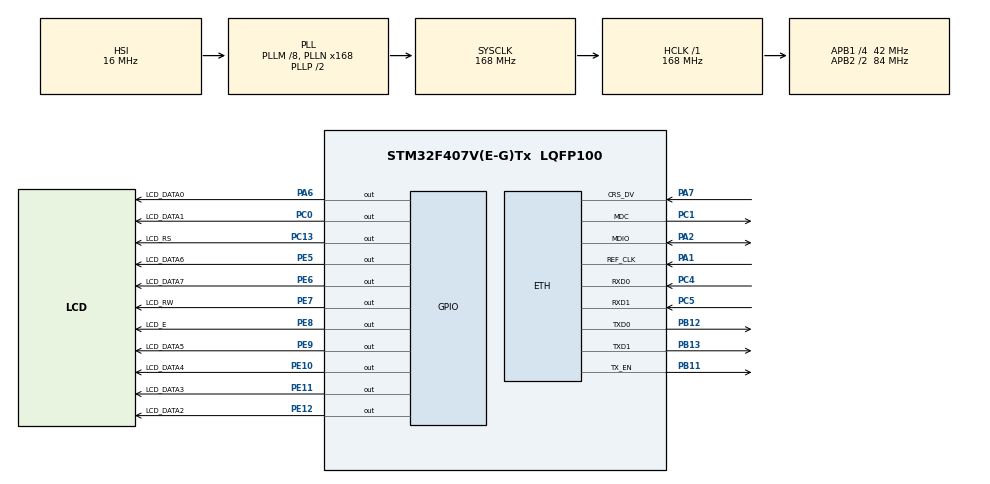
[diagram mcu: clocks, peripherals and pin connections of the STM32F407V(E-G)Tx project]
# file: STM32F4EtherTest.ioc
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ETH.MACAddr=00\:02\:F7\:F1\:D4\:EA
ETH.MediaInterface=ETH_MEDIA_INTERFACE_RMII
ETH.PHY_DUPLEX_STATUS=0x0010
ETH.PHY_Name_RMII=userPHY
ETH.PHY_SPEED_STATUS=0x0004
ETH.PHY_SR=0x1F
ETH.PHY_User_Name=LAN8720A
ETH.PhyAddress=1
FREERTOS.Tasks01=defaultTask,0,512,StartDefaultTask,Default,NULL,Dynamic,NULL,NULL
LWIP.LWIP_NETIF_LINK_CALLBACK=1
LWIP.LWIP_NETIF_STATUS_CALLBACK=1
LWIP.Version=v2.0.3_Cube
Mcu.Family=STM32F4
Mcu.Name=STM32F407V(E-G)Tx
Mcu.Package=LQFP100
NVIC.ETH_IRQn=true\:5\:0\:false\:false\:true\:true\:false
NVIC.PriorityGroup=NVIC_PRIORITYGROUP_4
NVIC.TIM1_UP_TIM10_IRQn=true\:0\:0\:false\:false\:true\:false\:false
NVIC.TimeBase=TIM1_UP_TIM10_IRQn
NVIC.TimeBaseIP=TIM10
PA1.Mode=RMII
PA1.Signal=ETH_REF_CLK
PA13.Mode=Serial_Wire
PA13.Signal=SYS_JTMS-SWDIO
PA14.Mode=Serial_Wire
PA14.Signal=SYS_JTCK-SWCLK
PA2.Mode=RMII
PA2.Signal=ETH_MDIO
PA6.GPIO_Label=LCD_DATA0
PA6.Signal=GPIO_Output
PA7.Mode=RMII
PA7.Signal=ETH_CRS_DV
PB11.Mode=RMII
PB11.Signal=ETH_TX_EN
PB12.Mode=RMII
PB12.Signal=ETH_TXD0
PB13.Mode=RMII
PB13.Signal=ETH_TXD1
PC0.GPIO_Label=LCD_DATA1
PC0.Signal=GPIO_Output
PC1.Mode=RMII
PC1.Signal=ETH_MDC
PC13-ANTI_TAMP.GPIO_Label=LCD_RS
PC13-ANTI_TAMP.Signal=GPIO_Output
PC4.Mode=RMII
PC4.Signal=ETH_RXD0
PC5.Mode=RMII
PC5.Signal=ETH_RXD1
PE10.GPIO_Label=LCD_DATA4
PE10.Signal=GPIO_Output
PE11.GPIO_Label=LCD_DATA3
PE11.Signal=GPIO_Output
PE12.GPIO_Label=LCD_DATA2
PE12.Signal=GPIO_Output
PE5.GPIO_Label=LCD_DATA6
PE5.Signal=GPIO_Output
PE6.GPIO_Label=LCD_DATA7
PE6.Signal=GPIO_Output
PE7.GPIO_Label=LCD_RW
PE7.Signal=GPIO_Output
PE8.GPIO_Label=LCD_E
PE8.Signal=GPIO_Output
PE9.GPIO_Label=LCD_DATA5
PE9.Signal=GPIO_Output
ProjectManager.HeapSize=0x200
ProjectManager.StackSize=0x400
ProjectManager.TargetToolchain=Makefile
RCC.48MHZClocksFreq_Value=84000000
RCC.AHBFreq_Value=168000000
RCC.APB1CLKDivider=RCC_HCLK_DIV4
RCC.APB1Freq_Value=42000000
RCC.APB1TimFreq_Value=84000000
RCC.APB2CLKDivider=RCC_HCLK_DIV2
RCC.APB2Freq_Value=84000000
RCC.APB2TimFreq_Value=168000000
RCC.CortexFreq_Value=168000000
RCC.HCLKFreq_Value=168000000
RCC.HSE_VALUE=25000000
RCC.HSI_VALUE=16000000
RCC.LSE_VALUE=32768
RCC.PLLM=8
RCC.PLLN=168
RCC.SYSCLKFreq_VALUE=168000000
RCC.SYSCLKSource=RCC_SYSCLKSOURCE_PLLCLK
RCC.VCOOutputFreq_Value=336000000
VP_FREERTOS_VS_ENABLE.Mode=Enabled
VP_LWIP_VS_Enabled.Mode=Enabled
VP_SYS_VS_tim10.Mode=TIM10
board=custom

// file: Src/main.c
/**
  ******************************************************************************
  * @file           : main.c
  * @brief          : Main program body
  ******************************************************************************
  * This notice applies to any and all portions of this file
  * that are not between comment pairs USER CODE BEGIN and
  * USER CODE END. Other portions of this file, whether
  * inserted by the user or by software development tools
  * are owned by their respective copyright owners.
  *
  * Copyright (c) 2019 STMicroelectronics International N.V.
  * All rights reserved.
  *
  * Redistribution and use in source and binary forms, with or without
  * modification, are permitted, provided that the following conditions are met:
  *
  * 1. Redistribution of source code must retain the above copyright notice,
  *    this list of conditions and the following disclaimer.
  * 2. Redistributions in binary form must reproduce the above copyright notice,
  *    this list of conditions and the following disclaimer in the documentation
  *    and/or other materials provided with the distribution.
  * 3. Neither the name of STMicroelectronics nor the names of other
  *    contributors to this software may be used to endorse or promote products
  *    derived from this software without specific written permission.
  * 4. This software, including modifications and/or derivative works of this
  *    software, must execute solely and exclusively on microcontroller or
  *    microprocessor devices manufactured by or for STMicroelectronics.
  * 5. Redistribution and use of this software other than as permitted under
  *    this license is void and will automatically terminate your rights under
  *    this license.
  *
  * THIS SOFTWARE IS PROVIDED BY STMICROELECTRONICS AND CONTRIBUTORS "AS IS"
  * AND ANY EXPRESS, IMPLIED OR STATUTORY WARRANTIES, INCLUDING, BUT NOT
  * LIMITED TO, THE IMPLIED WARRANTIES OF MERCHANTABILITY, FITNESS FOR A
  * PARTICULAR PURPOSE AND NON-INFRINGEMENT OF THIRD PARTY INTELLECTUAL PROPERTY
  * RIGHTS ARE DISCLAIMED TO THE FULLEST EXTENT PERMITTED BY LAW. IN NO EVENT
  * SHALL STMICROELECTRONICS OR CONTRIBUTORS BE LIABLE FOR ANY DIRECT, INDIRECT,
  * INCIDENTAL, SPECIAL, EXEMPLARY, OR CONSEQUENTIAL DAMAGES (INCLUDING, BUT NOT
  * LIMITED TO, PROCUREMENT OF SUBSTITUTE GOODS OR SERVICES; LOSS OF USE, DATA,
  * OR PROFITS; OR BUSINESS INTERRUPTION) HOWEVER CAUSED AND ON ANY THEORY OF
  * LIABILITY, WHETHER IN CONTRACT, STRICT LIABILITY, OR TORT (INCLUDING
  * NEGLIGENCE OR OTHERWISE) ARISING IN ANY WAY OUT OF THE USE OF THIS SOFTWARE,
  * EVEN IF ADVISED OF THE POSSIBILITY OF SUCH DAMAGE.
  *
  ******************************************************************************
  */
#include "main.h"
#include "stm32f4xx_hal.h"
#include "cmsis_os.h"
#include "lwip.h"
#include "gpio.h"

/* USER CODE BEGIN PV */
/* Private variables ---------------------------------------------------------*/

/* USER CODE END PV */

void SystemClock_Config(void);
void MX_FREERTOS_Init(void);

/* USER CODE BEGIN PFP */
/* Private function prototypes -----------------------------------------------*/

/* USER CODE END PFP */

int main(void)
{

  /* MCU Configuration----------------------------------------------------------*/

  /* Reset of all peripherals, Initializes the Flash interface and the Systick. */
  HAL_Init();

  /* Configure the system clock */
  SystemClock_Config();

  /* Initialize all configured peripherals */
  MX_GPIO_Init();

  /* Call init function for freertos objects (in freertos.c) */
  MX_FREERTOS_Init();

  /* Start scheduler */
  osKernelStart();

  /* We should never get here as control is now taken by the scheduler */

  /* Infinite loop */
  while (1)
  {

  }

}

void SystemClock_Config(void)
{

  RCC_OscInitTypeDef RCC_OscInitStruct;
  RCC_ClkInitTypeDef RCC_ClkInitStruct;

    /**Configure the main internal regulator output voltage
    */
  __HAL_RCC_PWR_CLK_ENABLE();

  __HAL_PWR_VOLTAGESCALING_CONFIG(PWR_REGULATOR_VOLTAGE_SCALE1);

    /**Initializes the CPU, AHB and APB busses clocks
    */
  RCC_OscInitStruct.OscillatorType = RCC_OSCILLATORTYPE_HSI;
  RCC_OscInitStruct.HSIState = RCC_HSI_ON;
  RCC_OscInitStruct.HSICalibrationValue = 16;
  RCC_OscInitStruct.PLL.PLLState = RCC_PLL_ON;
  RCC_OscInitStruct.PLL.PLLSource = RCC_PLLSOURCE_HSI;
  RCC_OscInitStruct.PLL.PLLM = 8;
  RCC_OscInitStruct.PLL.PLLN = 168;
  RCC_OscInitStruct.PLL.PLLP = RCC_PLLP_DIV2;
  RCC_OscInitStruct.PLL.PLLQ = 4;
  if (HAL_RCC_OscConfig(&RCC_OscInitStruct) != HAL_OK)
  {
    _Error_Handler(__FILE__, __LINE__);
  }

    /**Initializes the CPU, AHB and APB busses clocks
    */
  RCC_ClkInitStruct.ClockType = RCC_CLOCKTYPE_HCLK|RCC_CLOCKTYPE_SYSCLK
                              |RCC_CLOCKTYPE_PCLK1|RCC_CLOCKTYPE_PCLK2;
  RCC_ClkInitStruct.SYSCLKSource = RCC_SYSCLKSOURCE_PLLCLK;
  RCC_ClkInitStruct.AHBCLKDivider = RCC_SYSCLK_DIV1;
  RCC_ClkInitStruct.APB1CLKDivider = RCC_HCLK_DIV4;
  RCC_ClkInitStruct.APB2CLKDivider = RCC_HCLK_DIV2;

  if (HAL_RCC_ClockConfig(&RCC_ClkInitStruct, FLASH_LATENCY_5) != HAL_OK)
  {
    _Error_Handler(__FILE__, __LINE__);
  }

    /**Configure the Systick interrupt time
    */
  HAL_SYSTICK_Config(HAL_RCC_GetHCLKFreq()/1000);

    /**Configure the Systick
    */
  HAL_SYSTICK_CLKSourceConfig(SYSTICK_CLKSOURCE_HCLK);

  /* SysTick_IRQn interrupt configuration */
  HAL_NVIC_SetPriority(SysTick_IRQn, 15, 0);
}

void HAL_TIM_PeriodElapsedCallback(TIM_HandleTypeDef *htim)
{
  if (htim->Instance == TIM10) {
    HAL_IncTick();
  }
}

void _Error_Handler(char *file, int line)
{
  while(1)
  {
  }
}

/************************ (C) COPYRIGHT STMicroelectronics *****END OF FILE****/

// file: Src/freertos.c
/* USER CODE BEGIN Header */
/**
  ******************************************************************************
  * File Name          : freertos.c
  * Description        : Code for freertos applications
  ******************************************************************************
  * This notice applies to any and all portions of this file
  * that are not between comment pairs USER CODE BEGIN and
  * USER CODE END. Other portions of this file, whether
  * inserted by the user or by software development tools
  * are owned by their respective copyright owners.
  *
  * Copyright (c) 2019 STMicroelectronics International N.V.
  * All rights reserved.
  *
  * Redistribution and use in source and binary forms, with or without
  * modification, are permitted, provided that the following conditions are met:
  *
  * 1. Redistribution of source code must retain the above copyright notice,
  *    this list of conditions and the following disclaimer.
  * 2. Redistributions in binary form must reproduce the above copyright notice,
  *    this list of conditions and the following disclaimer in the documentation
  *    and/or other materials provided with the distribution.
  * 3. Neither the name of STMicroelectronics nor the names of other
  *    contributors to this software may be used to endorse or promote products
  *    derived from this software without specific written permission.
  * 4. This software, including modifications and/or derivative works of this
  *    software, must execute solely and exclusively on microcontroller or
  *    microprocessor devices manufactured by or for STMicroelectronics.
  * 5. Redistribution and use of this software other than as permitted under
  *    this license is void and will automatically terminate your rights under
  *    this license.
  *
  * THIS SOFTWARE IS PROVIDED BY STMICROELECTRONICS AND CONTRIBUTORS "AS IS"
  * AND ANY EXPRESS, IMPLIED OR STATUTORY WARRANTIES, INCLUDING, BUT NOT
  * LIMITED TO, THE IMPLIED WARRANTIES OF MERCHANTABILITY, FITNESS FOR A
  * PARTICULAR PURPOSE AND NON-INFRINGEMENT OF THIRD PARTY INTELLECTUAL PROPERTY
  * RIGHTS ARE DISCLAIMED TO THE FULLEST EXTENT PERMITTED BY LAW. IN NO EVENT
  * SHALL STMICROELECTRONICS OR CONTRIBUTORS BE LIABLE FOR ANY DIRECT, INDIRECT,
  * INCIDENTAL, SPECIAL, EXEMPLARY, OR CONSEQUENTIAL DAMAGES (INCLUDING, BUT NOT
  * LIMITED TO, PROCUREMENT OF SUBSTITUTE GOODS OR SERVICES; LOSS OF USE, DATA,
  * OR PROFITS; OR BUSINESS INTERRUPTION) HOWEVER CAUSED AND ON ANY THEORY OF
  * LIABILITY, WHETHER IN CONTRACT, STRICT LIABILITY, OR TORT (INCLUDING
  * NEGLIGENCE OR OTHERWISE) ARISING IN ANY WAY OUT OF THE USE OF THIS SOFTWARE,
  * EVEN IF ADVISED OF THE POSSIBILITY OF SUCH DAMAGE.
  *
  ******************************************************************************
  */
/* USER CODE END Header */

#include "FreeRTOS.h"
#include "task.h"
#include "main.h"
#include "cmsis_os.h"

/* USER CODE BEGIN Includes */
#include "lwip/sockets.h"
#include "lwip.h"
#include "string.h"
/* USER CODE END Includes */

/* USER CODE BEGIN Variables */
osThreadId startSocketServerTaskHandle;
volatile int isInitializedFinished = 0;
volatile int isIPSuppliedByDHCP = 0;
volatile struct netif currentNetIf;
volatile int isLinkUp = 0;
/* USER CODE END Variables */
osThreadId defaultTaskHandle;

/* USER CODE BEGIN FunctionPrototypes */
static void startSocketServerTask(const void* argument);
static void netifStatusCallback(struct netif* netIf);
static void netifLinkCallback(struct netif* netIf);
/* USER CODE END FunctionPrototypes */

void StartDefaultTask(void const * argument);

extern void MX_LWIP_Init(void);
void MX_FREERTOS_Init(void); /* (MISRA C 2004 rule 8.1) */

void MX_FREERTOS_Init(void) {

  /* Create the thread(s) */
  /* definition and creation of defaultTask */
  osThreadDef(defaultTask, StartDefaultTask, osPriorityNormal, 0, 512);
  defaultTaskHandle = osThreadCreate(osThread(defaultTask), NULL);

  /* USER CODE BEGIN RTOS_THREADS */
  /* add threads, ... */
  osThreadDef(socketTask, startSocketServerTask, osPriorityNormal, 0, 1024);
  startSocketServerTaskHandle = osThreadCreate(osThread(socketTask), NULL);

  /* USER CODE END RTOS_THREADS */

}

void StartDefaultTask(void const * argument)
{
  /* init code for LWIP */
  MX_LWIP_Init();

  /* USER CODE BEGIN StartDefaultTask */
  isInitializedFinished = 1;
  /* Infinite loop */
  for(;;)
  {
    osDelay(1);
  }
  /* USER CODE END StartDefaultTask */
}

/* USER CODE BEGIN Application */
void netifStatusCallback(struct netif* netIf)
{
  isIPSuppliedByDHCP = 1;
  currentNetIf = *netIf;
}
void netifLinkCallback(struct netif* netIf)
{
  if((netIf->flags & NETIF_FLAG_LINK_UP) != 0){
    isLinkUp = 1;
  }else{
    isLinkUp = 0;
  }
  currentNetIf = *netIf;

}
void startSocketServerTask(const void* argument)
{
  while(isInitializedFinished == 0);

  SetNetIfStatusCallback(netifStatusCallback);

  SetNetIfLinkCallback(netifLinkCallback);

  while(isIPSuppliedByDHCP == 0);

  volatile ip4_addr_t gotIPAddr = currentNetIf.ip_addr;

  volatile char testChar[30];
  strcpy(testChar, inet_ntoa(gotIPAddr));

  int sockfd = lwip_socket(PF_INET, SOCK_STREAM, IPPROTO_TCP);

  struct sockaddr_in reader_addr;
  memset(&reader_addr, 0, sizeof(reader_addr));
  reader_addr.sin_family = AF_INET;
  reader_addr.sin_addr.s_addr = htonl(INADDR_ANY);
  reader_addr.sin_port = htons(80);

  volatile int status = bind(sockfd, (struct sockaddr*)&reader_addr, sizeof(reader_addr));

  if(status >= 0){
    status = listen(sockfd, 1);
  }

  struct sockaddr_in client_addr;
  int client_addr_len;
  int clientfd = 0;
  while(1){
    if(status >= 0){
      clientfd = accept(sockfd, (struct sockaddr*)&client_addr, &client_addr_len);
    }

    char receiveBuffer[1024] = {0};
    volatile int n = 0;
    if(clientfd >= 0){
       int val = lwip_fcntl(clientfd, F_GETFL, 0);
       lwip_fcntl(clientfd, F_SETFL, val | O_NONBLOCK);

      // n = lwip_read(clientfd, receiveBuffer, sizeof(receiveBuffer));
      int isclientConnected = 1;
      while(isclientConnected != 0){
        int readByte = lwip_read(clientfd, receiveBuffer, sizeof(receiveBuffer));

        if(readByte > 0){
          n += readByte;
        }else if(readByte == 0){
          isclientConnected = 0;
          close(clientfd);
        }else if(n > 0){
            char buffer[] = "HTTP/1.1 200 OK\r\n"
    	      	"Date: Sun, 26 Feb 2017 15:13:00 GMT\r\n"
    	      	"Server: Apache/2.2.31 (Amazon)\r\n"
    	      	"Last-Modified: Sun, 26 Feb 2017 15:06:20 GMT\r\n"
    	      	"Accept-Ranges: bytes\r\n"
    	      	"Content-Length: 7\r\n"
    	      	"Connection: close\r\n"
    	      	"Content-Type: text/html; charset=UTF-8\r\n"
    	      	"\r\n"
    	      	"HELLO\r\n";

            lwip_send(clientfd, buffer, strlen(buffer), 0);

            n = 0;

            close(clientfd);
            isclientConnected = 0;
        }
      }

      // char buf;
      // while(1){

      //   int readbyte = lwip_read(clientfd, &buf, 1);
      //   // int readbyte = lwip_recv(clientfd, &buf, 1, 0);

      //   if(readbyte <= 0){
      //     break;
      //   }

      //   if(readbyte > 0){
      //     sprintf(receiveBuffer, "%s%c", receiveBuffer, buf);
      //     n++;
      //     if(n >= 1024){
      //       break;
      //     }
      //     else if(n >= 259){
      //       int x = 0;
      //       x++;
      //     }
      //   }
      // }

    }

    //close(clientfd);
  }
}

/* USER CODE END Application */

/************************ (C) COPYRIGHT STMicroelectronics *****END OF FILE****/
